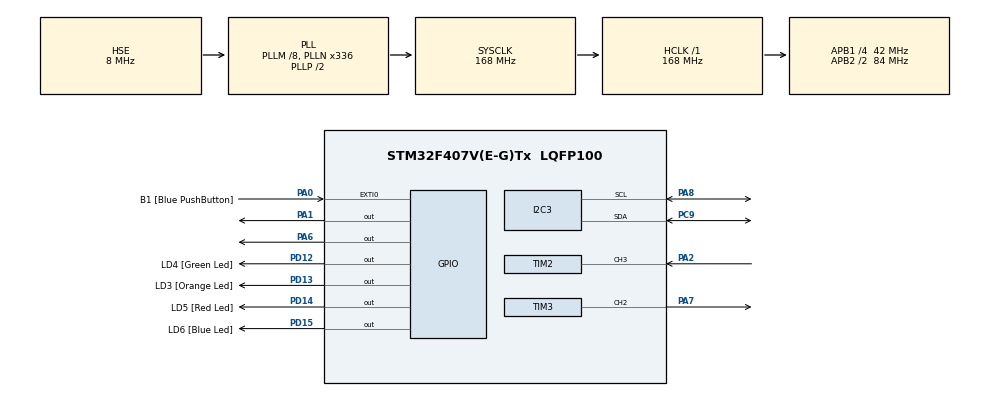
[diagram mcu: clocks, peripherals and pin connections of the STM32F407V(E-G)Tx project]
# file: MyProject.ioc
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FREERTOS.Tasks01=BuzzerTask,24,128,StartTask01,Default,NULL,Dynamic,NULL,NULL;SensorTask,40,256,StartTask02,Default,NULL,Dynamic,NULL,NULL;ServoTask,32,256,StartTask03,Default,NULL,Dynamic,NULL,NULL;LedTask,24,128,StartTask04,Default,NULL,Dynamic,NULL,NULL;LuxTask,40,256,StartTask05,Default,NULL,Dynamic,NULL,NULL
Mcu.Family=STM32F4
Mcu.Name=STM32F407V(E-G)Tx
Mcu.Package=LQFP100
NVIC.EXTI0_IRQn=true\:5\:0\:true\:false\:true\:false\:true\:true\:true
NVIC.PriorityGroup=NVIC_PRIORITYGROUP_4
NVIC.TIM2_IRQn=true\:5\:0\:false\:false\:true\:true\:true\:true\:true
PA0-WKUP.GPIO_Label=B1 [Blue PushButton]
PA0-WKUP.GPIO_ModeDefaultEXTI=GPIO_MODE_IT_RISING
PA0-WKUP.GPIO_PuPd=GPIO_NOPULL
PA0-WKUP.Signal=GPXTI0
PA1.Signal=GPIO_Output
PA13.GPIO_Label=SWDIO
PA13.Signal=SYS_JTMS-SWDIO
PA14.Signal=SYS_JTCK-SWCLK
PA2.GPIO_PuPd=GPIO_PULLDOWN
PA2.Signal=S_TIM2_CH3
PA6.GPIO_ModeDefaultOutputPP=GPIO_MODE_OUTPUT_PP
PA6.GPIO_PuPd=GPIO_NOPULL
PA6.PinState=GPIO_PIN_SET
PA6.Signal=GPIO_Output
PA7.Signal=S_TIM3_CH2
PA8.Mode=I2C
PA8.Signal=I2C3_SCL
PC9.Mode=I2C
PC9.Signal=I2C3_SDA
PD12.GPIO_Label=LD4 [Green Led]
PD12.GPIO_PuPd=GPIO_NOPULL
PD12.GPIO_Speed=GPIO_SPEED_FREQ_LOW
PD12.Signal=GPIO_Output
PD13.GPIO_Label=LD3 [Orange Led]
PD13.GPIO_PuPd=GPIO_NOPULL
PD13.GPIO_Speed=GPIO_SPEED_FREQ_LOW
PD13.Signal=GPIO_Output
PD14.GPIO_Label=LD5 [Red Led]
PD14.GPIO_PuPd=GPIO_NOPULL
PD14.GPIO_Speed=GPIO_SPEED_FREQ_LOW
PD14.Signal=GPIO_Output
PD15.GPIO_Label=LD6 [Blue Led]
PD15.GPIO_PuPd=GPIO_NOPULL
PD15.GPIO_Speed=GPIO_SPEED_FREQ_LOW
PD15.Signal=GPIO_Output
PH0-OSC_IN.Mode=HSE-External-Oscillator
PH0-OSC_IN.Signal=RCC_OSC_IN
PH1-OSC_OUT.Mode=HSE-External-Oscillator
PH1-OSC_OUT.Signal=RCC_OSC_OUT
ProjectManager.HeapSize=0x200
ProjectManager.StackSize=0x400
ProjectManager.TargetToolchain=STM32CubeIDE
RCC.48MHZClocksFreq_Value=48000000
RCC.AHBFreq_Value=168000000
RCC.APB1CLKDivider=RCC_HCLK_DIV4
RCC.APB1Freq_Value=42000000
RCC.APB1TimFreq_Value=84000000
RCC.APB2CLKDivider=RCC_HCLK_DIV2
RCC.APB2Freq_Value=84000000
RCC.APB2TimFreq_Value=168000000
RCC.CortexFreq_Value=168000000
RCC.HCLKFreq_Value=168000000
RCC.HSE_VALUE=8000000
RCC.HSI_VALUE=16000000
RCC.LSE_VALUE=32768
RCC.PLLM=8
RCC.PLLN=336
RCC.PLLQ=7
RCC.PLLSourceVirtual=RCC_PLLSOURCE_HSE
RCC.SYSCLKFreq_VALUE=168000000
RCC.SYSCLKSource=RCC_SYSCLKSOURCE_PLLCLK
RCC.VCOOutputFreq_Value=336000000
SH.S_TIM2_CH3.0=TIM2_CH3,Input_Capture3_from_TI3
SH.S_TIM3_CH2.0=TIM3_CH2,PWM Generation2 CH2
TIM2.Channel-Input_Capture3_from_TI3=TIM_CHANNEL_3
TIM2.Prescaler=83
TIM3.AutoReloadPreload=TIM_AUTORELOAD_PRELOAD_ENABLE
TIM3.Channel-PWM\ Generation2\ CH2=TIM_CHANNEL_2
TIM3.OCMode_PWM-PWM\ Generation2\ CH2=TIM_OCMODE_PWM1
TIM3.Period=19999
TIM3.Prescaler=83
TIM3.Pulse-PWM\ Generation2\ CH2=1500
VP_FREERTOS_VS_CMSIS_V2.Mode=CMSIS_V2
VP_TIM2_VS_ClockSourceINT.Mode=Internal
VP_TIM3_VS_ClockSourceINT.Mode=Internal
board=STM32F407G-DISC1

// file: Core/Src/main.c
/* USER CODE BEGIN Header */
/**
  ******************************************************************************
  * @file           : main.c
  * @brief          : Main program body
  ******************************************************************************
  * @attention
  *
  * Copyright (c) 2025 STMicroelectronics.
  * All rights reserved.
  *
  * This software is licensed under terms that can be found in the LICENSE file
  * in the root directory of this software component.
  * If no LICENSE file comes with this software, it is provided AS-IS.
  *
  ******************************************************************************
  */
/* USER CODE END Header */
#include "main.h"
#include "cmsis_os.h"

/* USER CODE BEGIN Includes */
#include "bh1750.h"
#include "FreeRTOS.h"
#include "task.h"
#include "event_groups.h"
#include "timers.h"
/* USER CODE END Includes */

/* USER CODE BEGIN PD */
#define EG_BIT_MUTE_LED   (1U << 0)
#define EG_BIT_MUTE_BUZ   (1U << 1)
#define EG_BIT_SERVO      (1U << 2)
#define EG_BIT_DARK       (1U << 3)

#define LUX_DARK_THRESHOLD   15.0f
#define LUX_HYSTERESIS       2.0f
/* USER CODE END PD */

I2C_HandleTypeDef hi2c3;

TIM_HandleTypeDef htim2;
TIM_HandleTypeDef htim3;

/* Definitions for BuzzerTask */
osThreadId_t BuzzerTaskHandle;
const osThreadAttr_t BuzzerTask_attributes = {
  .name = "BuzzerTask",
  .stack_size = 128 * 4,
  .priority = (osPriority_t) osPriorityNormal,
};
/* Definitions for SensorTask */
osThreadId_t SensorTaskHandle;
const osThreadAttr_t SensorTask_attributes = {
  .name = "SensorTask",
  .stack_size = 256 * 4,
  .priority = (osPriority_t) osPriorityHigh,
};
/* Definitions for ServoTask */
osThreadId_t ServoTaskHandle;
const osThreadAttr_t ServoTask_attributes = {
  .name = "ServoTask",
  .stack_size = 256 * 4,
  .priority = (osPriority_t) osPriorityAboveNormal,
};
/* Definitions for LedTask */
osThreadId_t LedTaskHandle;
const osThreadAttr_t LedTask_attributes = {
  .name = "LedTask",
  .stack_size = 128 * 4,
  .priority = (osPriority_t) osPriorityNormal,
};
/* Definitions for LuxTask */
osThreadId_t LuxTaskHandle;
const osThreadAttr_t LuxTask_attributes = {
  .name = "LuxTask",
  .stack_size = 256 * 4,
  .priority = (osPriority_t) osPriorityHigh,
};
/* USER CODE BEGIN PV */
static volatile uint32_t g_icStart = 0;
static volatile uint32_t g_echoUs = 0;
static volatile uint8_t g_capState =0;

volatile float g_distance_cm = 999.0f;

// USER CODE BEGIN PV
static volatile TickType_t g_servoDeadlineTicks = 0;
// USER CODE END PV

static EventGroupHandle_t gEg = NULL;
static TimerHandle_t MuteLedTimer = NULL;
static TimerHandle_t MuteBuzTimer = NULL;

volatile float g_lux = 0.0f;
/* USER CODE END PV */

void SystemClock_Config(void);
static void MX_GPIO_Init(void);
static void MX_TIM3_Init(void);
static void MX_TIM2_Init(void);
static void MX_I2C3_Init(void);
void StartTask01(void *argument);
void StartTask02(void *argument);
void StartTask03(void *argument);
void StartTask04(void *argument);
void StartTask05(void *argument);

/* USER CODE BEGIN PFP */
static inline void DWT_Delay_Init(void);
static inline void delay_us(uint32_t us);
static inline void trig_pulse_10us(void);
static inline void LED_ALL_TOGGLE(void);
static inline void LED_ALL_OFF(void);
/* USER CODE END PFP */

/* USER CODE BEGIN 0 */
static inline void DWT_Delay_Init(void)
{
  CoreDebug->DEMCR |= CoreDebug_DEMCR_TRCENA_Msk;
  DWT->CTRL |= DWT_CTRL_CYCCNTENA_Msk;
}

static inline void delay_us(uint32_t us)
{
  uint32_t start = DWT->CYCCNT;
  uint32_t ticks = (SystemCoreClock / 1000000) * us;
  while ((DWT->CYCCNT - start) < ticks) { __NOP(); }
}

static inline void trig_pulse_10us(void)
{
  HAL_GPIO_WritePin(GPIOA, GPIO_PIN_1, GPIO_PIN_RESET);
  delay_us(2);
  HAL_GPIO_WritePin(GPIOA, GPIO_PIN_1, GPIO_PIN_SET);
  delay_us(12);
  HAL_GPIO_WritePin(GPIOA, GPIO_PIN_1, GPIO_PIN_RESET);
}

static inline void LED_ALL_OFF(void) {
	HAL_GPIO_WritePin(GPIOD, LD4_Pin|LD3_Pin|LD5_Pin|LD6_Pin, GPIO_PIN_RESET);
}

static inline void LED_ALL_TOGGLE(void) {
	HAL_GPIO_TogglePin(GPIOD, LD4_Pin|LD3_Pin|LD5_Pin|LD6_Pin);
}

static void vMuteLedTimerCb(TimerHandle_t xTimer) {
    xEventGroupClearBits(gEg, EG_BIT_MUTE_LED);
}

static void vMuteBuzTimerCb(TimerHandle_t xTimer) {
    xEventGroupClearBits(gEg, EG_BIT_MUTE_BUZ);
}
/* USER CODE END 0 */

int main(void)
{

  /* MCU Configuration--------------------------------------------------------*/

  /* Reset of all peripherals, Initializes the Flash interface and the Systick. */
  HAL_Init();

  /* Configure the system clock */
  SystemClock_Config();

  /* Initialize all configured peripherals */
  MX_GPIO_Init();
  MX_TIM3_Init();
  MX_TIM2_Init();
  MX_I2C3_Init();
  /* USER CODE BEGIN 2 */
  HAL_TIM_PWM_Start(&htim3, TIM_CHANNEL_2);
  HAL_TIM_IC_Start_IT(&htim2, TIM_CHANNEL_3);
  DWT_Delay_Init();
  __HAL_TIM_SET_COMPARE(&htim3, TIM_CHANNEL_2, 2000);
  gEg = xEventGroupCreate();
  configASSERT(gEg != NULL);

  MuteLedTimer = xTimerCreate("MuteLED5s", pdMS_TO_TICKS(5000), pdFALSE, NULL, vMuteLedTimerCb);
  configASSERT(MuteLedTimer != NULL);

  MuteBuzTimer = xTimerCreate("MuteBUZ5s", pdMS_TO_TICKS(5000), pdFALSE, NULL, vMuteBuzTimerCb);
  configASSERT(MuteBuzTimer != NULL);
  /* USER CODE END 2 */

  /* Init scheduler */
  osKernelInitialize();

  /* Create the thread(s) */
  /* creation of BuzzerTask */
  BuzzerTaskHandle = osThreadNew(StartTask01, NULL, &BuzzerTask_attributes);

  /* creation of SensorTask */
  SensorTaskHandle = osThreadNew(StartTask02, NULL, &SensorTask_attributes);

  /* creation of ServoTask */
  ServoTaskHandle = osThreadNew(StartTask03, NULL, &ServoTask_attributes);

  /* creation of LedTask */
  LedTaskHandle = osThreadNew(StartTask04, NULL, &LedTask_attributes);

  /* creation of LuxTask */
  LuxTaskHandle = osThreadNew(StartTask05, NULL, &LuxTask_attributes);

  /* Start scheduler */
  osKernelStart();

  /* We should never get here as control is now taken by the scheduler */

  /* Infinite loop */
  while (1)
  {

  }
}

void SystemClock_Config(void)
{
  RCC_OscInitTypeDef RCC_OscInitStruct = {0};
  RCC_ClkInitTypeDef RCC_ClkInitStruct = {0};

  /** Configure the main internal regulator output voltage
  */
  __HAL_RCC_PWR_CLK_ENABLE();
  __HAL_PWR_VOLTAGESCALING_CONFIG(PWR_REGULATOR_VOLTAGE_SCALE1);

  /** Initializes the RCC Oscillators according to the specified parameters
  * in the RCC_OscInitTypeDef structure.
  */
  RCC_OscInitStruct.OscillatorType = RCC_OSCILLATORTYPE_HSE;
  RCC_OscInitStruct.HSEState = RCC_HSE_ON;
  RCC_OscInitStruct.PLL.PLLState = RCC_PLL_ON;
  RCC_OscInitStruct.PLL.PLLSource = RCC_PLLSOURCE_HSE;
  RCC_OscInitStruct.PLL.PLLM = 8;
  RCC_OscInitStruct.PLL.PLLN = 336;
  RCC_OscInitStruct.PLL.PLLP = RCC_PLLP_DIV2;
  RCC_OscInitStruct.PLL.PLLQ = 7;
  if (HAL_RCC_OscConfig(&RCC_OscInitStruct) != HAL_OK)
  {
    Error_Handler();
  }

  /** Initializes the CPU, AHB and APB buses clocks
  */
  RCC_ClkInitStruct.ClockType = RCC_CLOCKTYPE_HCLK|RCC_CLOCKTYPE_SYSCLK
                              |RCC_CLOCKTYPE_PCLK1|RCC_CLOCKTYPE_PCLK2;
  RCC_ClkInitStruct.SYSCLKSource = RCC_SYSCLKSOURCE_PLLCLK;
  RCC_ClkInitStruct.AHBCLKDivider = RCC_SYSCLK_DIV1;
  RCC_ClkInitStruct.APB1CLKDivider = RCC_HCLK_DIV4;
  RCC_ClkInitStruct.APB2CLKDivider = RCC_HCLK_DIV2;

  if (HAL_RCC_ClockConfig(&RCC_ClkInitStruct, FLASH_LATENCY_5) != HAL_OK)
  {
    Error_Handler();
  }
}

static void MX_I2C3_Init(void)
{

  hi2c3.Instance = I2C3;
  hi2c3.Init.ClockSpeed = 100000;
  hi2c3.Init.DutyCycle = I2C_DUTYCYCLE_2;
  hi2c3.Init.OwnAddress1 = 0;
  hi2c3.Init.AddressingMode = I2C_ADDRESSINGMODE_7BIT;
  hi2c3.Init.DualAddressMode = I2C_DUALADDRESS_DISABLE;
  hi2c3.Init.OwnAddress2 = 0;
  hi2c3.Init.GeneralCallMode = I2C_GENERALCALL_DISABLE;
  hi2c3.Init.NoStretchMode = I2C_NOSTRETCH_DISABLE;
  if (HAL_I2C_Init(&hi2c3) != HAL_OK)
  {
    Error_Handler();
  }

}

static void MX_TIM2_Init(void)
{

  TIM_ClockConfigTypeDef sClockSourceConfig = {0};
  TIM_MasterConfigTypeDef sMasterConfig = {0};
  TIM_IC_InitTypeDef sConfigIC = {0};

  htim2.Instance = TIM2;
  htim2.Init.Prescaler = 83;
  htim2.Init.CounterMode = TIM_COUNTERMODE_UP;
  htim2.Init.Period = 4294967295;
  htim2.Init.ClockDivision = TIM_CLOCKDIVISION_DIV1;
  htim2.Init.AutoReloadPreload = TIM_AUTORELOAD_PRELOAD_DISABLE;
  if (HAL_TIM_Base_Init(&htim2) != HAL_OK)
  {
    Error_Handler();
  }
  sClockSourceConfig.ClockSource = TIM_CLOCKSOURCE_INTERNAL;
  if (HAL_TIM_ConfigClockSource(&htim2, &sClockSourceConfig) != HAL_OK)
  {
    Error_Handler();
  }
  if (HAL_TIM_IC_Init(&htim2) != HAL_OK)
  {
    Error_Handler();
  }
  sMasterConfig.MasterOutputTrigger = TIM_TRGO_RESET;
  sMasterConfig.MasterSlaveMode = TIM_MASTERSLAVEMODE_DISABLE;
  if (HAL_TIMEx_MasterConfigSynchronization(&htim2, &sMasterConfig) != HAL_OK)
  {
    Error_Handler();
  }
  sConfigIC.ICPolarity = TIM_INPUTCHANNELPOLARITY_RISING;
  sConfigIC.ICSelection = TIM_ICSELECTION_DIRECTTI;
  sConfigIC.ICPrescaler = TIM_ICPSC_DIV1;
  sConfigIC.ICFilter = 0;
  if (HAL_TIM_IC_ConfigChannel(&htim2, &sConfigIC, TIM_CHANNEL_3) != HAL_OK)
  {
    Error_Handler();
  }

}

static void MX_TIM3_Init(void)
{

  TIM_ClockConfigTypeDef sClockSourceConfig = {0};
  TIM_MasterConfigTypeDef sMasterConfig = {0};
  TIM_OC_InitTypeDef sConfigOC = {0};

  htim3.Instance = TIM3;
  htim3.Init.Prescaler = 83;
  htim3.Init.CounterMode = TIM_COUNTERMODE_UP;
  htim3.Init.Period = 19999;
  htim3.Init.ClockDivision = TIM_CLOCKDIVISION_DIV1;
  htim3.Init.AutoReloadPreload = TIM_AUTORELOAD_PRELOAD_ENABLE;
  if (HAL_TIM_Base_Init(&htim3) != HAL_OK)
  {
    Error_Handler();
  }
  sClockSourceConfig.ClockSource = TIM_CLOCKSOURCE_INTERNAL;
  if (HAL_TIM_ConfigClockSource(&htim3, &sClockSourceConfig) != HAL_OK)
  {
    Error_Handler();
  }
  if (HAL_TIM_PWM_Init(&htim3) != HAL_OK)
  {
    Error_Handler();
  }
  sMasterConfig.MasterOutputTrigger = TIM_TRGO_RESET;
  sMasterConfig.MasterSlaveMode = TIM_MASTERSLAVEMODE_DISABLE;
  if (HAL_TIMEx_MasterConfigSynchronization(&htim3, &sMasterConfig) != HAL_OK)
  {
    Error_Handler();
  }
  sConfigOC.OCMode = TIM_OCMODE_PWM1;
  sConfigOC.Pulse = 1500;
  sConfigOC.OCPolarity = TIM_OCPOLARITY_HIGH;
  sConfigOC.OCFastMode = TIM_OCFAST_DISABLE;
  if (HAL_TIM_PWM_ConfigChannel(&htim3, &sConfigOC, TIM_CHANNEL_2) != HAL_OK)
  {
    Error_Handler();
  }
  HAL_TIM_MspPostInit(&htim3);

}

static void MX_GPIO_Init(void)
{
  GPIO_InitTypeDef GPIO_InitStruct = {0};

  /* GPIO Ports Clock Enable */
  __HAL_RCC_GPIOH_CLK_ENABLE();
  __HAL_RCC_GPIOA_CLK_ENABLE();
  __HAL_RCC_GPIOD_CLK_ENABLE();
  __HAL_RCC_GPIOC_CLK_ENABLE();

  /*Configure GPIO pin Output Level */
  HAL_GPIO_WritePin(GPIOA, GPIO_PIN_1, GPIO_PIN_RESET);

  /*Configure GPIO pin Output Level */
  HAL_GPIO_WritePin(GPIOA, GPIO_PIN_6, GPIO_PIN_SET);

  /*Configure GPIO pin Output Level */
  HAL_GPIO_WritePin(GPIOD, LD4_Pin|LD3_Pin|LD5_Pin|LD6_Pin, GPIO_PIN_RESET);

  /*Configure GPIO pin : B1_Pin */
  GPIO_InitStruct.Pin = B1_Pin;
  GPIO_InitStruct.Mode = GPIO_MODE_IT_RISING;
  GPIO_InitStruct.Pull = GPIO_NOPULL;
  HAL_GPIO_Init(B1_GPIO_Port, &GPIO_InitStruct);

  /*Configure GPIO pins : PA1 PA6 */
  GPIO_InitStruct.Pin = GPIO_PIN_1|GPIO_PIN_6;
  GPIO_InitStruct.Mode = GPIO_MODE_OUTPUT_PP;
  GPIO_InitStruct.Pull = GPIO_NOPULL;
  GPIO_InitStruct.Speed = GPIO_SPEED_FREQ_LOW;
  HAL_GPIO_Init(GPIOA, &GPIO_InitStruct);

  /*Configure GPIO pins : LD4_Pin LD3_Pin LD5_Pin LD6_Pin */
  GPIO_InitStruct.Pin = LD4_Pin|LD3_Pin|LD5_Pin|LD6_Pin;
  GPIO_InitStruct.Mode = GPIO_MODE_OUTPUT_PP;
  GPIO_InitStruct.Pull = GPIO_NOPULL;
  GPIO_InitStruct.Speed = GPIO_SPEED_FREQ_LOW;
  HAL_GPIO_Init(GPIOD, &GPIO_InitStruct);

  /* EXTI interrupt init*/
  HAL_NVIC_SetPriority(EXTI0_IRQn, 5, 0);
  HAL_NVIC_EnableIRQ(EXTI0_IRQn);

  /* USER CODE BEGIN MX_GPIO_Init_2 */
  // PA2 -> TIM2_CH3 (ECHO)
  GPIO_InitTypeDef GPIO_InitStruct2 = {0};
  GPIO_InitStruct2.Pin       = GPIO_PIN_2;
  GPIO_InitStruct2.Mode      = GPIO_MODE_AF_PP;
  GPIO_InitStruct2.Pull      = GPIO_PULLDOWN;
  GPIO_InitStruct2.Speed     = GPIO_SPEED_FREQ_HIGH;
  GPIO_InitStruct2.Alternate = GPIO_AF1_TIM2;
  HAL_GPIO_Init(GPIOA, &GPIO_InitStruct2);

  /* USER CODE END MX_GPIO_Init_2 */
}

/* USER CODE BEGIN 4 */
void HAL_TIM_IC_CaptureCallback(TIM_HandleTypeDef *htim)
{
  if (htim->Instance == TIM2 && htim->Channel == HAL_TIM_ACTIVE_CHANNEL_3)
  {
    if (g_capState == 0) {
        g_icStart = HAL_TIM_ReadCapturedValue(&htim2, TIM_CHANNEL_3);
        __HAL_TIM_SET_CAPTUREPOLARITY(&htim2, TIM_CHANNEL_3, TIM_INPUTCHANNELPOLARITY_FALLING);
        g_capState = 1;
    } else {
        uint32_t icEnd = HAL_TIM_ReadCapturedValue(&htim2, TIM_CHANNEL_3);
        uint32_t dur = icEnd-g_icStart;
        g_echoUs = dur;
        __HAL_TIM_SET_CAPTUREPOLARITY(&htim2, TIM_CHANNEL_3, TIM_INPUTCHANNELPOLARITY_RISING);
        g_capState = 0;

        BaseType_t hp = pdFALSE;
        vTaskNotifyGiveFromISR(SensorTaskHandle, &hp);
        portYIELD_FROM_ISR(hp);
    }
  }
}

void HAL_GPIO_EXTI_Callback(uint16_t GPIO_PIN) {
    if (GPIO_PIN == GPIO_PIN_0) {
        static uint32_t last = 0;
        uint32_t nowMs = HAL_GetTick();
        if ((nowMs - last) < 150) return;
        last = nowMs;

        EventBits_t bitsNow = xEventGroupGetBitsFromISR(gEg);
        if (bitsNow & EG_BIT_DARK) {
            return;
        }

        BaseType_t hp = pdFALSE;

        TickType_t nowTicks = xTaskGetTickCountFromISR();
        TickType_t newDeadline = nowTicks + pdMS_TO_TICKS(5000);
        if ((int32_t)(newDeadline - g_servoDeadlineTicks) > 0) {
            g_servoDeadlineTicks = newDeadline;
        }

        xEventGroupSetBitsFromISR(gEg, EG_BIT_MUTE_LED, &hp);
        xTimerResetFromISR(MuteLedTimer, &hp);

        xEventGroupSetBitsFromISR(gEg, EG_BIT_MUTE_BUZ, &hp);
        xTimerResetFromISR(MuteBuzTimer, &hp);

        xEventGroupSetBitsFromISR(gEg, EG_BIT_SERVO, &hp);

        portYIELD_FROM_ISR(hp);
    }
}

/* USER CODE END 4 */

void StartTask01(void *argument)
{
  /* USER CODE BEGIN 5 */
	uint8_t buzzer = 0;
  /* Infinite loop */
  for(;;)
  {
	    EventBits_t bits = xEventGroupGetBits(gEg);
	    if (bits & EG_BIT_MUTE_BUZ) {
	        HAL_GPIO_WritePin(GPIOA, GPIO_PIN_6, GPIO_PIN_SET);
	        vTaskDelay(pdMS_TO_TICKS(50));
	        continue;
	    }
	  float d = g_distance_cm;
	  if(!buzzer&&d<5.0f) {
		  buzzer=1;
	  } else if(buzzer&&d>6.0f) {
		  buzzer=0;
	  }
	  if(buzzer) {
	      HAL_GPIO_TogglePin(GPIOA,GPIO_PIN_6);
	      vTaskDelay(pdMS_TO_TICKS(300));
	  } else {
	      HAL_GPIO_WritePin(GPIOA,GPIO_PIN_6,GPIO_PIN_SET);
	      vTaskDelay(pdMS_TO_TICKS(100));
	  }
  }
  /* USER CODE END 5 */
}

void StartTask02(void *argument)
{
  /* USER CODE BEGIN StartTask02 */
  /* Infinite loop */
	  const TickType_t period = pdMS_TO_TICKS(60);
	  TickType_t last = xTaskGetTickCount();
	  for(;;)
	  {
	    trig_pulse_10us();
	    if (ulTaskNotifyTake(pdTRUE, pdMS_TO_TICKS(40)) == 1) {
	      uint32_t us = g_echoUs;
	      float d = (float)us / 58.0f;

	      if (d >= 2.0f && d <= 400.0f) {
	        g_distance_cm = d;
	      }
	    }
	    vTaskDelayUntil(&last, period);
	  }
  /* USER CODE END StartTask02 */
}

void StartTask03(void *argument)
{
  /* USER CODE BEGIN StartTask03 */
  /* Infinite loop */
	  for(;;)
	  {
	    xEventGroupWaitBits(gEg, EG_BIT_SERVO, pdTRUE, pdFALSE, portMAX_DELAY);

	    if (xEventGroupGetBits(gEg) & EG_BIT_DARK) {
	        __HAL_TIM_SET_COMPARE(&htim3, TIM_CHANNEL_2, 2000);
	        continue;
	    }

	    __HAL_TIM_SET_COMPARE(&htim3, TIM_CHANNEL_2, 1000);

	    while ((int32_t)(g_servoDeadlineTicks - xTaskGetTickCount()) > 0) {
	        if (xEventGroupGetBits(gEg) & EG_BIT_DARK) {
	            break;
	        }
	        vTaskDelay(pdMS_TO_TICKS(10));
	    }

	    __HAL_TIM_SET_COMPARE(&htim3, TIM_CHANNEL_2, 2000);
	  }
  /* USER CODE END StartTask03 */
}

void StartTask04(void *argument)
{
  /* USER CODE BEGIN StartTask04 */
  /* Infinite loop */
	uint8_t nearState = 0;
	LED_ALL_OFF();
  for(;;)
  {
	    if (xEventGroupGetBits(gEg) & EG_BIT_MUTE_LED) {
	        LED_ALL_OFF();
	        vTaskDelay(pdMS_TO_TICKS(50));
	        continue;
	    }

	  float d = g_distance_cm;
	  if(!nearState&&d<5.0f) {
		  nearState=1;
	  } else if(nearState&&d>6.0f) {
		  nearState=0;
	  }
	  if(nearState) {
	      LED_ALL_TOGGLE();
	      vTaskDelay(pdMS_TO_TICKS(300));
	  } else {
	      LED_ALL_OFF();
	      vTaskDelay(pdMS_TO_TICKS(100));
	  }
  }
  /* USER CODE END StartTask04 */
}

void StartTask05(void *argument)
{
  /* USER CODE BEGIN StartTask05 */
  /* Infinite loop */
    BH1750_Handle_t bh = {
        .i2c  = &hi2c3,
        .addr = (0x23u << 1)
    };

    // Init BH1750 cho tới khi thành công
    while (BH1750_Init(&bh) != HAL_OK) {
        vTaskDelay(pdMS_TO_TICKS(500));
    }

    uint8_t isDark = 0;
    const TickType_t period = pdMS_TO_TICKS(500);

    for (;;) {
        float lux = 0.0f;
        if (BH1750_ReadLux(&bh, &lux, 50) == HAL_OK) {
            g_lux = lux;

            if (!isDark && lux < LUX_DARK_THRESHOLD) {
                isDark = 1;
                xEventGroupSetBits(gEg, EG_BIT_DARK);

                __HAL_TIM_SET_COMPARE(&htim3, TIM_CHANNEL_2, 2000);
                g_servoDeadlineTicks = xTaskGetTickCount();

                xEventGroupSetBits(gEg, EG_BIT_MUTE_LED | EG_BIT_MUTE_BUZ);
                xTimerStop(MuteLedTimer, 0);
                xTimerStop(MuteBuzTimer, 0);

            } else if (isDark && lux > (LUX_DARK_THRESHOLD + LUX_HYSTERESIS)) {
                isDark = 0;
                xEventGroupClearBits(gEg, EG_BIT_DARK);
                xEventGroupClearBits(gEg, EG_BIT_MUTE_LED | EG_BIT_MUTE_BUZ);
            }
        } else {
            (void)BH1750_Init(&bh);
        }

        vTaskDelay(period);
    }
  /* USER CODE END StartTask05 */
}

void Error_Handler(void)
{
  __disable_irq();
  while (1)
  {
  }
}
